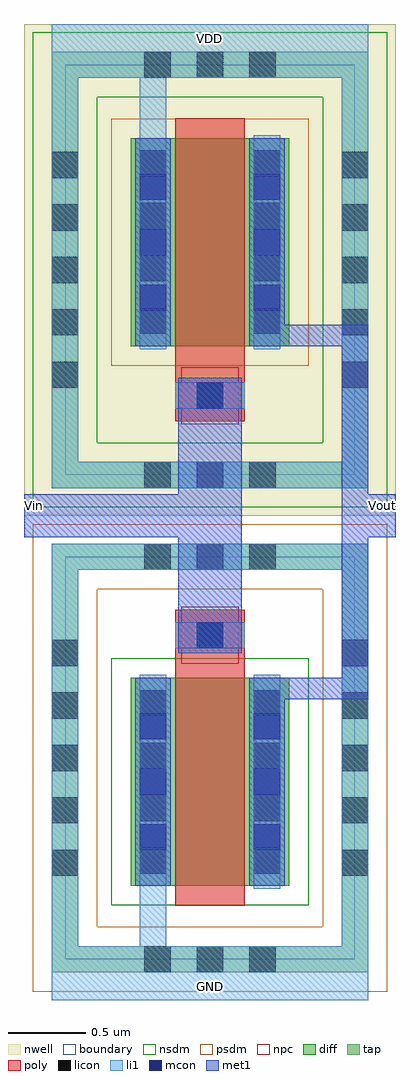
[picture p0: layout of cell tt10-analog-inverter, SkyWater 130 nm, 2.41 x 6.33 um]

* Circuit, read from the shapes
.subckt tt10-analog-inverter GND VDD Vin Vout
XM1 Vout Vin GND GND sky130_fd_pr__nfet_01v8 w=1.35 l=0.45
XM2 Vout Vin VDD VDD sky130_fd_pr__pfet_01v8 w=1.35 l=0.45
.ends

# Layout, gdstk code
import gdstk
lib = gdstk.Library(unit=1e-6, precision=1e-09)
def R(c, l, rs):  # rectangles x0, y0, x1, y1
    for r in rs: c.add(gdstk.rectangle(r[:2], r[2:], *l))
def A(c, l, x, y, w, h, nx, ny, dx, dy):  # array of equal rectangles
    R(c, l, [(x+i*dx, y+j*dy, x+i*dx+w, y+j*dy+h) for i in range(nx) for j in range(ny)])
nwell = (64, 20)
diff = (65, 20)
tap = (65, 44)
poly = (66, 20)
licon = (66, 44)
li1 = (67, 20)
mcon = (67, 44)
met1 = (68, 20)
nsdm = (93, 44)
psdm = (94, 20)
npc = (95, 20)
boundary = (235, 4)

sky130_fd_pr__nfet_01v8_ = lib.new_cell('sky130_fd_pr__nfet_01v8_UFL937')
R(sky130_fd_pr__nfet_01v8_, diff, [(-0.515,-0.83,0.515,0.52)])
R(sky130_fd_pr__nfet_01v8_, tap, [(-1.025,-1.39,1.025,-1.22), (-1.025,-1.22,-0.855,1.22), (0.855,-1.22,1.025,1.22), (-1.025,1.22,1.025,1.39)])
R(sky130_fd_pr__nfet_01v8_, poly, [(-0.225,-0.96,0.225,0.96)])
A(sky130_fd_pr__nfet_01v8_, licon, -0.425, -1.39, 0.17, 0.17, 3, 2, 0.34, 2.61)
A(sky130_fd_pr__nfet_01v8_, licon, -1.025, -0.765, 0.17, 0.17, 1, 5, 0, 0.34)
A(sky130_fd_pr__nfet_01v8_, licon, 0.855, -0.765, 0.17, 0.17, 1, 5, 0, 0.34)
A(sky130_fd_pr__nfet_01v8_, licon, -0.455, -0.75, 0.17, 0.17, 1, 4, 0, 0.34)
A(sky130_fd_pr__nfet_01v8_, licon, 0.285, -0.75, 0.17, 0.17, 1, 4, 0, 0.34)
R(sky130_fd_pr__nfet_01v8_, licon, [(-0.085,0.71,0.085,0.88)])
R(sky130_fd_pr__nfet_01v8_, li1, [(-1.025,-1.39,1.025,-1.22), (-1.025,-1.22,-0.855,1.22), (0.855,-1.22,1.025,1.22), (-0.455,-0.85,-0.285,0.54), (0.285,-0.85,0.455,0.54), (-0.225,0.71,0.225,0.88), (-1.025,1.22,1.025,1.39)])
A(sky130_fd_pr__nfet_01v8_, mcon, -0.455, -0.6, 0.17, 0.17, 1, 3, 0, 0.36)
A(sky130_fd_pr__nfet_01v8_, mcon, 0.285, -0.6, 0.17, 0.17, 1, 3, 0, 0.36)
R(sky130_fd_pr__nfet_01v8_, mcon, [(-0.085,0.71,0.085,0.88)])
R(sky130_fd_pr__nfet_01v8_, met1, [(-0.485,-0.83,-0.255,0.52), (0.255,-0.83,0.485,0.52), (-0.205,0.68,0.205,0.91)])
R(sky130_fd_pr__nfet_01v8_, nsdm, [(-0.64,-0.955,0.64,0.645)])
R(sky130_fd_pr__nfet_01v8_, psdm, [(-1.15,-1.515,1.15,-1.095), (-1.15,-1.095,-0.73,1.095), (0.73,-1.095,1.15,1.095), (-1.15,1.095,1.15,1.515)])
R(sky130_fd_pr__nfet_01v8_, npc, [(-0.185,0.61,0.185,0.98)])
R(sky130_fd_pr__nfet_01v8_, boundary, [(-0.94,-1.305,0.94,1.305)])
sky130_fd_pr__nfet_01v8_.add(gdstk.Label('B', (0.01,-1.31), layer=67, texttype=5))
sky130_fd_pr__nfet_01v8_.add(gdstk.Label('G', (0,0.81), layer=68, texttype=5))
sky130_fd_pr__nfet_01v8_.add(gdstk.Label('D', (0.38,-0.14), layer=68, texttype=5))
sky130_fd_pr__nfet_01v8_.add(gdstk.Label('S', (-0.375,-0.145), layer=68, texttype=5))

sky130_fd_pr__pfet_01v8_ = lib.new_cell('sky130_fd_pr__pfet_01v8_E93L2H')
R(sky130_fd_pr__pfet_01v8_, nwell, [(-1.205,-1.595,1.205,1.595)])
R(sky130_fd_pr__pfet_01v8_, diff, [(-0.515,-0.495,0.515,0.855)])
R(sky130_fd_pr__pfet_01v8_, tap, [(-1.025,-1.415,1.025,-1.245), (-1.025,-1.245,-0.855,1.245), (0.855,-1.245,1.025,1.245), (-1.025,1.245,1.025,1.415)])
R(sky130_fd_pr__pfet_01v8_, poly, [(-0.225,-0.98,0.225,0.985)])
A(sky130_fd_pr__pfet_01v8_, licon, -0.425, -1.415, 0.17, 0.17, 3, 2, 0.34, 2.66)
A(sky130_fd_pr__pfet_01v8_, licon, -1.025, -0.765, 0.17, 0.17, 1, 5, 0, 0.34)
A(sky130_fd_pr__pfet_01v8_, licon, 0.855, -0.765, 0.17, 0.17, 1, 5, 0, 0.34)
A(sky130_fd_pr__pfet_01v8_, licon, -0.455, -0.415, 0.17, 0.17, 1, 4, 0, 0.34)
A(sky130_fd_pr__pfet_01v8_, licon, 0.285, -0.415, 0.17, 0.17, 1, 4, 0, 0.34)
R(sky130_fd_pr__pfet_01v8_, licon, [(-0.085,-0.9,0.085,-0.73)])
R(sky130_fd_pr__pfet_01v8_, li1, [(-1.025,-1.415,1.025,-1.245), (-1.025,-1.245,-0.855,1.245), (0.855,-1.245,1.025,1.245), (-0.225,-0.9,0.225,-0.73), (-0.455,-0.515,-0.285,0.875), (0.285,-0.515,0.455,0.875), (-1.025,1.245,1.025,1.415)])
A(sky130_fd_pr__pfet_01v8_, mcon, -0.455, -0.265, 0.17, 0.17, 1, 3, 0, 0.36)
A(sky130_fd_pr__pfet_01v8_, mcon, 0.285, -0.265, 0.17, 0.17, 1, 3, 0, 0.36)
R(sky130_fd_pr__pfet_01v8_, mcon, [(-0.085,-0.9,0.085,-0.73)])
R(sky130_fd_pr__pfet_01v8_, met1, [(-0.205,-0.93,0.205,-0.7), (-0.485,-0.495,-0.255,0.855), (0.255,-0.495,0.485,0.855)])
R(sky130_fd_pr__pfet_01v8_, nsdm, [(-1.15,-1.54,1.15,-1.12), (-1.15,-1.12,-0.73,1.12), (0.73,-1.12,1.15,1.12), (-1.15,1.12,1.15,1.54)])
R(sky130_fd_pr__pfet_01v8_, psdm, [(-0.64,-0.62,0.64,0.98)])
R(sky130_fd_pr__pfet_01v8_, npc, [(-0.185,-1,0.185,-0.63)])
R(sky130_fd_pr__pfet_01v8_, boundary, [(-0.94,-1.33,0.94,1.33)])
sky130_fd_pr__pfet_01v8_.add(gdstk.Label('G', (0.01,-0.825), layer=68, texttype=5))
sky130_fd_pr__pfet_01v8_.add(gdstk.Label('D', (0.385,0.2), layer=68, texttype=5))
sky130_fd_pr__pfet_01v8_.add(gdstk.Label('S', (-0.37,0.17), layer=68, texttype=5))
sky130_fd_pr__pfet_01v8_.add(gdstk.Label('B', (0.015,-1.34), layer=67, texttype=5))

tt10_analog_inverter = lib.new_cell('tt10-analog-inverter')
R(tt10_analog_inverter, li1, [(-0.35,-3.67,1.7,-3.49), (-0.35,-3.49,0.13,-3.32), (0.53,-3.49,0.82,-3.32), (0.22,-3.34,0.39,-2.92), (0.22,1.915,0.39,2.335), (0.53,2.31,0.82,2.48), (-0.35,2.48,1.7,2.66)])
R(tt10_analog_inverter, met1, [(0.96,-1.72,1.7,-1.58), (1.53,-1.58,1.7,-0.67), (0.47,-1.42,0.88,-0.67), (-0.53,-0.67,0.88,-0.39), (1.53,-0.67,1.88,-0.39), (0.47,-0.39,0.88,0.165), (1.53,-0.39,1.7,0.57), (0.96,0.57,1.7,0.71)])
tt10_analog_inverter.add(gdstk.Reference(sky130_fd_pr__nfet_01v8_, (0.675,-2.1)))
tt10_analog_inverter.add(gdstk.Reference(sky130_fd_pr__pfet_01v8_, (0.675,1.065)))
tt10_analog_inverter.add(gdstk.Label('VDD', (0.67,2.565), layer=67, texttype=5))
tt10_analog_inverter.add(gdstk.Label('GND', (0.675,-3.585), layer=67, texttype=5))
tt10_analog_inverter.add(gdstk.Label('Vin', (-0.465,-0.46), layer=68, texttype=5))
tt10_analog_inverter.add(gdstk.Label('Vout', (1.795,-0.46), layer=68, texttype=5))

lib.write_gds('tt10-analog-inverter.gds')
